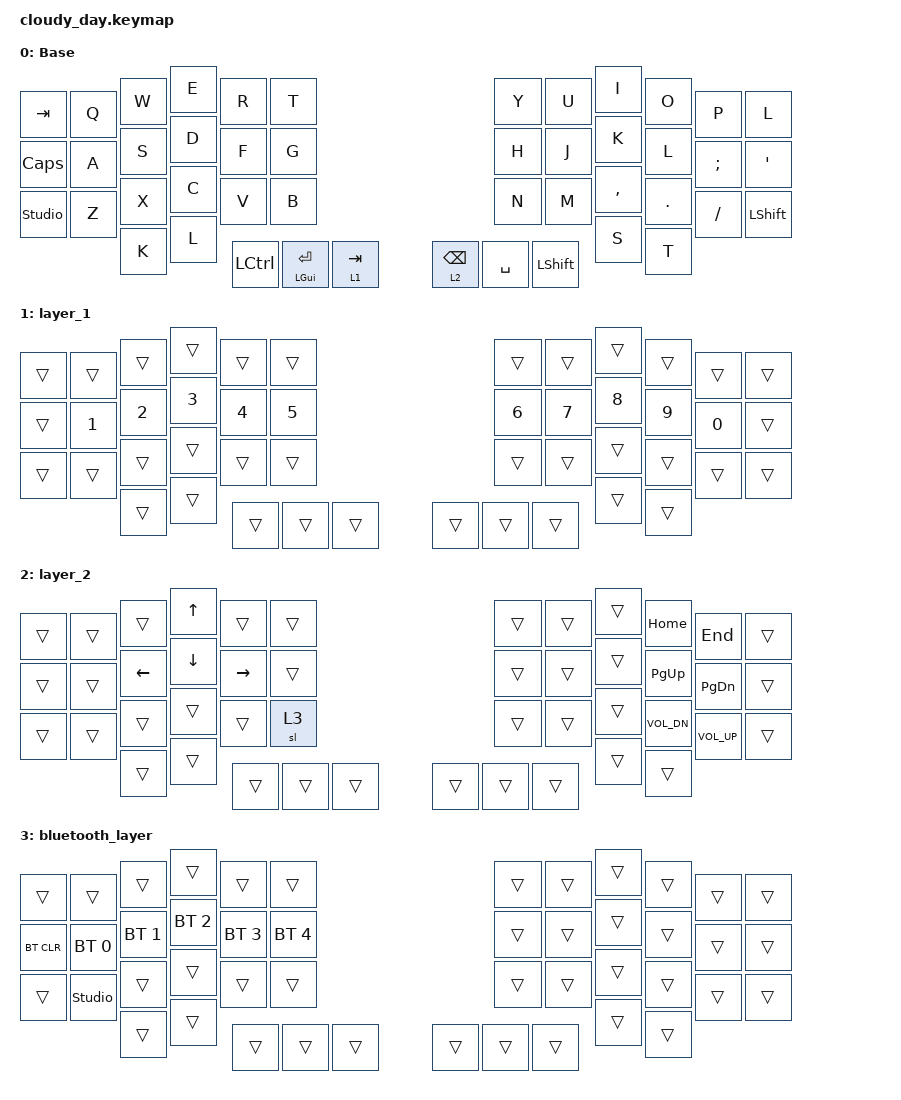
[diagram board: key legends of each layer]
#include <behaviors.dtsi>
#include <dt-bindings/zmk/keys.h>
#include <dt-bindings/zmk/bt.h>

/ {
    keymap {
        compatible = "zmk,keymap";

        default_layer {
            display-name = "Base";
            bindings = <
                &kp TAB         &kp Q  &kp W  &kp E  &kp R             &kp T                                           &kp Y      &kp U           &kp I      &kp O       &kp P          &kp L
                &kp CAPS        &kp A  &kp S  &kp D  &kp F             &kp G                                           &kp H      &kp J           &kp K      &kp L       &kp SEMICOLON  &kp SQT
                &studio_unlock  &kp Z  &kp X  &kp C  &kp V             &kp B                                           &kp N      &kp M           &kp COMMA  &kp PERIOD  &kp SLASH      &kp LEFT_SHIFT
                                       &kp K  &kp L  &kp LEFT_CONTROL  &mt LEFT_GUI ENTER  &lt 1 TAB  &lt 2 BACKSPACE  &kp SPACE  &kp LEFT_SHIFT  &kp S      &kp T
                            >;
                        };
                
        layer_1 {
            bindings = <
                &trans  &trans        &trans        &trans        &trans        &trans                  &trans        &trans  &trans  &trans  &trans  &trans
                &trans  &kp NUMBER_1  &kp NUMBER_2  &kp NUMBER_3  &kp NUMBER_4  &kp N5                  &kp NUMBER_6  &kp N7  &kp N8  &kp N9  &kp N0  &trans
                &trans  &trans        &trans        &trans        &trans        &trans                  &trans        &trans  &trans  &trans  &trans  &trans
                                      &trans        &trans        &trans        &trans  &trans  &trans  &trans        &trans  &trans  &trans
                            >;
                        };
                
        layer_2 {
            bindings = <
                &trans  &trans  &trans    &kp UP_ARROW  &trans     &trans                  &trans  &trans  &trans  &kp HOME      &kp END        &trans
                &trans  &trans  &kp LEFT  &kp DOWN      &kp RIGHT  &trans                  &trans  &trans  &trans  &kp PAGE_UP   &kp PAGE_DOWN  &trans
                &trans  &trans  &trans    &trans        &trans     &sl 3                   &trans  &trans  &trans  &kp C_VOL_DN  &kp C_VOL_UP   &trans
                                &trans    &trans        &trans     &trans  &trans  &trans  &trans  &trans  &trans  &trans
                            >;
                        };
                
        bluetooth_layer {
            bindings = <
                &trans      &trans          &trans        &trans        &trans        &trans                        &trans  &trans  &trans  &trans  &trans  &trans
                &bt BT_CLR  &bt BT_SEL 0    &bt BT_SEL 1  &bt BT_SEL 2  &bt BT_SEL 3  &bt BT_SEL 4                  &trans  &trans  &trans  &trans  &trans  &trans
                &trans      &studio_unlock  &trans        &trans        &trans        &trans                        &trans  &trans  &trans  &trans  &trans  &trans
                                            &trans        &trans        &trans        &trans        &trans  &trans  &trans  &trans  &trans  &trans
            >;
        };
    };
};
